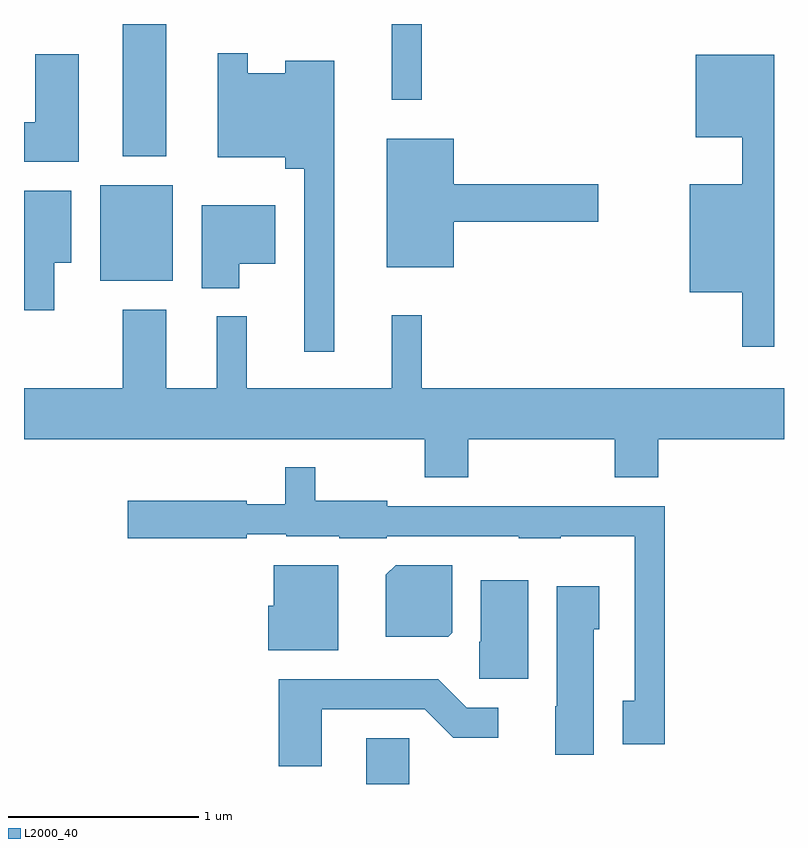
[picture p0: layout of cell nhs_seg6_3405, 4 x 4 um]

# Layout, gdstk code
import gdstk
lib = gdstk.Library(unit=1e-6, precision=1e-09)
def R(c, l, rs):  # rectangles x0, y0, x1, y1
    for r in rs: c.add(gdstk.rectangle(r[:2], r[2:], *l))
def P(c, l, *ps):  # polygons
    for p in ps: c.add(gdstk.Polygon(p, *l))
L2000_40 = (2000, 40)

nhs_seg6_3405 = lib.new_cell('nhs_seg6_3405')
R(nhs_seg6_3405, L2000_40, [(289.411,1608.162,289.639,1608.404), (288.011,1610.811,288.394,1611.314), (288.131,1611.466,288.359,1612.162), (289.546,1611.763,289.704,1612.162)])
P(nhs_seg6_3405, L2000_40, [(289.244,1611.969),(288.986,1611.969),(288.986,1611.904),(288.789,1611.904),(288.789,1612.008),(288.631,1612.008),(288.631,1611.461),(288.986,1611.461),(288.986,1611.401),(289.086,1611.401),(289.086,1610.438),(289.244,1610.438)],
  [(287.899,1612.004),(287.671,1612.004),(287.671,1611.644),(287.611,1611.644),(287.611,1611.436),(287.899,1611.436)],
  [(291.559,1611.999),(291.146,1611.999),(291.146,1611.566),(291.391,1611.566),(291.391,1611.319),(291.116,1611.319),(291.116,1610.751),(291.391,1610.751),(291.391,1610.463),(291.559,1610.463)],
  [(289.874,1611.121),(290.634,1611.121),(290.634,1611.319),(289.874,1611.319),(289.874,1611.559),(289.521,1611.559),(289.521,1610.881),(289.874,1610.881)],
  [(287.769,1610.906),(287.859,1610.906),(287.859,1611.284),(287.611,1611.284),(287.611,1610.656),(287.769,1610.656)],
  [(288.744,1610.901),(288.934,1610.901),(288.934,1611.209),(288.546,1611.209),(288.546,1610.771),(288.744,1610.771)],
  [(289.704,1610.628),(289.546,1610.628),(289.546,1610.244),(288.784,1610.244),(288.784,1610.623),(288.626,1610.623),(288.626,1610.244),(288.359,1610.244),(288.359,1610.659),(288.131,1610.659),(288.131,1610.244),(287.611,1610.244),(287.611,1609.976),(289.721,1609.976),(289.721,1609.776),(289.949,1609.776),(289.949,1609.976),(290.721,1609.976),(290.721,1609.776),(290.949,1609.776),(290.949,1609.976),(291.611,1609.976),(291.611,1610.244),(289.704,1610.244)],
  [(290.984,1609.624),(289.524,1609.624),(289.524,1609.654),(289.144,1609.654),(289.144,1609.828),(288.986,1609.828),(288.986,1609.634),(288.784,1609.634),(288.784,1609.654),(288.156,1609.654),(288.156,1609.456),(288.784,1609.456),(288.784,1609.476),(288.99,1609.476),(288.99,1609.466),(289.27,1609.466),(289.27,1609.456),(289.52,1609.456),(289.52,1609.466),(290.215,1609.466),(290.215,1609.456),(290.435,1609.456),(290.435,1609.466),(290.826,1609.466),(290.826,1608.599),(290.761,1608.599),(290.761,1608.371),(290.984,1608.371)],
  [(289.864,1608.957),(289.864,1609.314),(289.567,1609.314),(289.516,1609.264),(289.516,1608.936),(289.844,1608.936)],
  [(289.264,1609.314),(288.926,1609.314),(288.926,1609.099),(288.896,1609.099),(288.896,1608.866),(289.264,1608.866)],
  [(290.264,1609.234),(290.016,1609.234),(290.016,1608.91),(290.006,1608.91),(290.006,1608.716),(290.264,1608.716)],
  [(290.609,1608.976),(290.639,1608.976),(290.639,1609.204),(290.416,1609.204),(290.416,1608.57),(290.406,1608.57),(290.406,1608.316),(290.609,1608.316)],
  [(289.179,1608.556),(289.719,1608.556),(289.869,1608.406),(290.108,1608.406),(290.108,1608.564),(289.942,1608.564),(289.792,1608.714),(288.951,1608.714),(288.951,1608.256),(289.179,1608.256)])

lib.write_gds('nhs_seg6_3405.gds')
